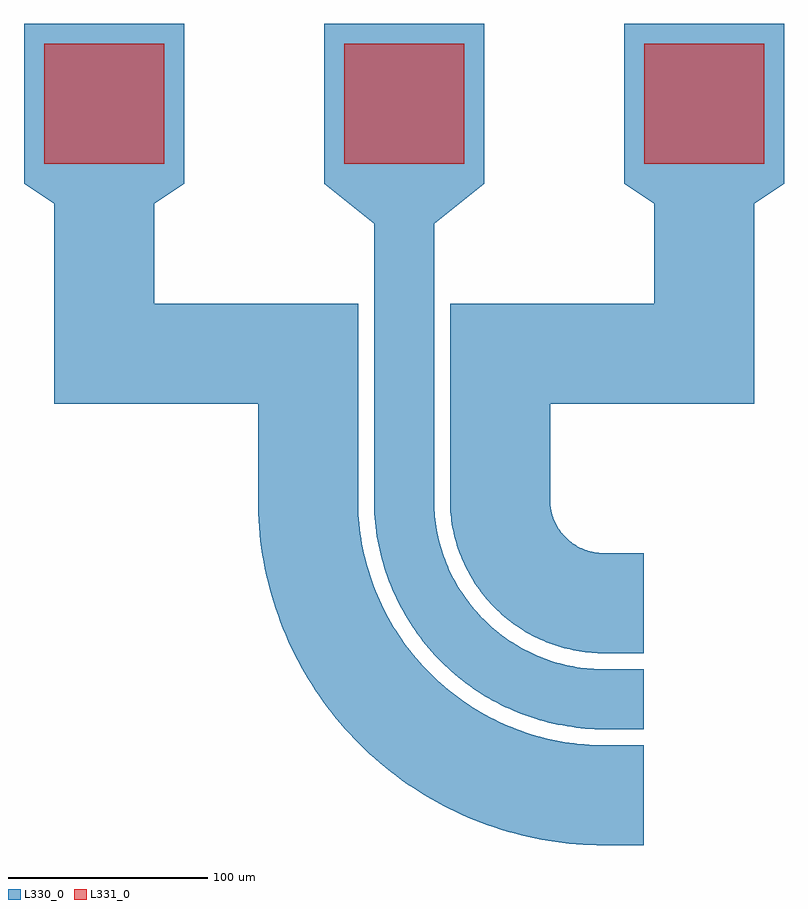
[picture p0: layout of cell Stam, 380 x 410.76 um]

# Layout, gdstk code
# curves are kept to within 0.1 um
import gdstk
lib = gdstk.Library(unit=1e-6, precision=5e-09)
def R(c, l, rs):  # rectangles x0, y0, x1, y1
    for r in rs: c.add(gdstk.rectangle(r[:2], r[2:], *l))
def A(c, l, x, y, w, h, nx, ny, dx, dy):  # array of equal rectangles
    R(c, l, [(x+i*dx, y+j*dy, x+i*dx+w, y+j*dy+h) for i in range(nx) for j in range(ny)])
def P(c, l, *ps):  # polygons
    for p in ps: c.add(gdstk.Polygon(p, *l))
L330_0 = (330, 0)
L331_0 = (331, 0)

stam = lib.new_cell('Stam')
P(stam, L330_0, [(-20.37,-72.995),(-30.445,-72.685),(-40.855,-71.74),(-51.185,-70.165),(-61.405,-67.975),(-71.47,-65.165),(-81.35,-61.76),(-91.005,-57.76),(-97.3,-54.77),(-106.505,-49.825),(-112.465,-46.22),(-121.125,-40.37),(-129.415,-34.005),(-137.31,-27.155),(-142.335,-22.33),(-149.495,-14.72),(-156.185,-6.69),(-162.38,1.725),(-166.22,7.54),(-171.54,16.535),(-174.775,22.705),(-179.16,32.19),(-182.965,41.925),(-186.175,51.87),(-187.98,58.6),(-189.51,65.4),(-191.29,75.695),(-192.13,82.61),(-192.69,89.555),(-192.98,97.77),(-192.98,147.765),(-294.98,147.765),(-294.98,247.76),(-309.98,257.76),(-309.98,337.76),(-229.98,337.76),(-229.98,257.76),(-244.98,247.76),(-244.98,197.765),(-142.98,197.765),(-142.98,97.77),(-142.605,90.105),(-141.41,80.27),(-139.43,70.565),(-137.435,63.41),(-135.865,58.71),(-132.165,49.52),(-127.74,40.66),(-125.265,36.37),(-122.615,32.185),(-116.825,24.145),(-110.41,16.6),(-103.405,9.595),(-95.86,3.18),(-87.82,-2.61),(-83.635,-5.26),(-79.345,-7.735),(-74.96,-10.04),(-70.48,-12.16),(-65.925,-14.105),(-61.295,-15.86),(-56.595,-17.43),(-51.835,-18.805),(-47.025,-19.995),(-42.175,-20.985),(-37.285,-21.78),(-32.365,-22.375),(-24.955,-22.9),(0,-22.995),(0,-72.995)],
  [(-20.075,-14.995),(-29.255,-14.625),(-38.45,-13.51),(-45.27,-12.19),(-54.215,-9.79),(-62.94,-6.68),(-71.385,-2.88),(-77.5,0.41),(-85.33,5.36),(-90.925,9.475),(-97.98,15.475),(-104.525,22.025),(-110.53,29.08),(-114.645,34.675),(-119.595,42.505),(-122.885,48.62),(-126.685,57.065),(-129.795,65.79),(-131.085,70.24),(-132.68,77),(-134.165,86.14),(-134.91,95.37),(-134.98,237.76),(-159.98,257.76),(-159.98,337.76),(-79.98,337.76),(-79.98,257.76),(-104.98,237.76),(-104.98,97.77),(-104.57,91.46),(-103.9,86.37),(-102.925,81.325),(-102.105,78.005),(-100.625,73.085),(-99.475,69.86),(-98.2,66.685),(-96.045,62.025),(-93.615,57.505),(-91.84,54.575),(-89.955,51.72),(-86.91,47.58),(-84.745,44.93),(-81.305,41.12),(-78.88,38.7),(-75.075,35.26),(-71.065,32.05),(-68.285,30.05),(-62.5,26.39),(-57.98,23.96),(-54.885,22.49),(-50.14,20.525),(-46.92,19.38),(-43.65,18.36),(-38.675,17.08),(-31.945,15.845),(-25.135,15.16),(-19.925,15.005),(0,15.005),(0,-14.995)],
  [(-19.885,23.005),(-24.65,23.145),(-30.82,23.77),(-35.405,24.56),(-41.425,26.045),(-47.305,28.01),(-51.6,29.79),(-55.785,31.825),(-61.155,34.925),(-66.255,38.445),(-69.89,41.35),(-73.34,44.47),(-77.635,48.945),(-80.615,52.515),(-84.24,57.55),(-87.445,62.855),(-90.215,68.4),(-92.53,74.155),(-94.76,81.575),(-96.005,87.65),(-96.86,95.355),(-96.98,97.765),(-96.98,197.765),(5.02,197.765),(5.02,247.76),(-9.98,257.76),(-9.98,337.76),(70.02,337.76),(70.02,257.76),(55.02,247.76),(55.02,147.765),(-46.98,147.765),(-46.98,97.77),(-46.34,94.07),(-45.61,91.455),(-44.39,88.43),(-42.82,85.575),(-41.585,83.785),(-39.845,81.7),(-37.905,79.795),(-36.22,78.42),(-34.43,77.185),(-32.065,75.85),(-29.575,74.76),(-27.51,74.075),(-24.33,73.355),(-21.09,73.03),(0,73.005),(0,23.005)])
A(stam, L331_0, -299.98, 267.76, 60, 60, 3, 1, 150, 0)

lib.write_gds('Stam.gds')
